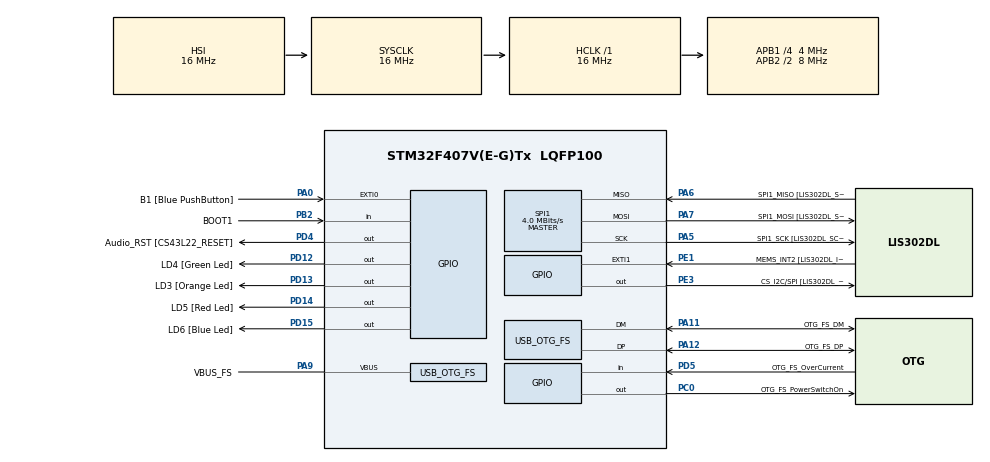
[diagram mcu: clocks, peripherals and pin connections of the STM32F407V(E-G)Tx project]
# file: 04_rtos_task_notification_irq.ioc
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Mcu.Family=STM32F4
Mcu.Name=STM32F407V(E-G)Tx
Mcu.Package=LQFP100
NVIC.OTG_FS_IRQn=true\:0\:0\:false\:false\:true\:true\:true\:true
NVIC.PriorityGroup=NVIC_PRIORITYGROUP_4
NVIC.TIM6_DAC_IRQn=true\:0\:0\:false\:false\:true\:false\:true\:true
NVIC.TimeBase=TIM6_DAC_IRQn
NVIC.TimeBaseIP=TIM6
PA0-WKUP.GPIO_Label=B1 [Blue PushButton]
PA0-WKUP.GPIO_ModeDefaultEXTI=GPIO_MODE_EVT_RISING
PA0-WKUP.GPIO_PuPd=GPIO_NOPULL
PA0-WKUP.Signal=GPXTI0
PA10.GPIO_Label=OTG_FS_ID
PA10.GPIO_Mode=GPIO_MODE_AF_PP
PA10.GPIO_PuPd=GPIO_NOPULL
PA10.GPIO_Speed=GPIO_SPEED_FREQ_LOW
PA10.Signal=USB_OTG_FS_ID
PA11.GPIO_Label=OTG_FS_DM
PA11.GPIO_Mode=GPIO_MODE_AF_PP
PA11.GPIO_PuPd=GPIO_NOPULL
PA11.GPIO_Speed=GPIO_SPEED_FREQ_LOW
PA11.Mode=Host_Only
PA11.Signal=USB_OTG_FS_DM
PA12.GPIO_Label=OTG_FS_DP
PA12.GPIO_Mode=GPIO_MODE_AF_PP
PA12.GPIO_PuPd=GPIO_NOPULL
PA12.GPIO_Speed=GPIO_SPEED_FREQ_LOW
PA12.Mode=Host_Only
PA12.Signal=USB_OTG_FS_DP
PA13.GPIO_Label=SWDIO
PA13.Mode=Serial_Wire
PA13.Signal=SYS_JTMS-SWDIO
PA14.GPIO_Label=SWCLK
PA14.Mode=Serial_Wire
PA14.Signal=SYS_JTCK-SWCLK
PA4.GPIO_Label=I2S3_WS [CS43L22_LRCK]
PA4.GPIO_Mode=GPIO_MODE_AF_PP
PA4.GPIO_PuPd=GPIO_NOPULL
PA4.GPIO_Speed=GPIO_SPEED_FREQ_LOW
PA4.Signal=I2S3_WS
PA5.GPIO_Label=SPI1_SCK [LIS302DL_SCL/SPC]
PA5.GPIO_Mode=GPIO_MODE_AF_PP
PA5.GPIO_PuPd=GPIO_NOPULL
PA5.GPIO_Speed=GPIO_SPEED_FREQ_LOW
PA5.Mode=Full_Duplex_Master
PA5.Signal=SPI1_SCK
PA6.GPIO_Label=SPI1_MISO [LIS302DL_SDO]
PA6.GPIO_Mode=GPIO_MODE_AF_PP
PA6.GPIO_PuPd=GPIO_NOPULL
PA6.GPIO_Speed=GPIO_SPEED_FREQ_LOW
PA6.Mode=Full_Duplex_Master
PA6.Signal=SPI1_MISO
PA7.GPIO_Label=SPI1_MOSI [LIS302DL_SDA/SDI/SDO]
PA7.GPIO_Mode=GPIO_MODE_AF_PP
PA7.GPIO_PuPd=GPIO_NOPULL
PA7.GPIO_Speed=GPIO_SPEED_FREQ_LOW
PA7.Mode=Full_Duplex_Master
PA7.Signal=SPI1_MOSI
PA9.GPIO_Label=VBUS_FS
PA9.GPIO_Mode=GPIO_MODE_INPUT
PA9.GPIO_PuPd=GPIO_NOPULL
PA9.Mode=Activate_VBUS
PA9.Signal=USB_OTG_FS_VBUS
PB10.GPIO_Label=CLK_IN [MP45DT02_CLK]
PB10.GPIO_Mode=GPIO_MODE_AF_PP
PB10.GPIO_PuPd=GPIO_NOPULL
PB10.GPIO_Speed=GPIO_SPEED_FREQ_LOW
PB10.Signal=I2S2_CK
PB2.GPIO_Label=BOOT1
PB2.GPIO_Mode=GPIO_MODE_INPUT
PB2.GPIO_PuPd=GPIO_NOPULL
PB2.Signal=GPIO_Input
PB3.GPIO_Label=SWO
PB3.Signal=SYS_JTDO-SWO
PB6.GPIO_Label=Audio_SCL [CS43L22_SCL]
PB6.GPIO_Mode=GPIO_MODE_AF_OD
PB6.GPIO_Pu=GPIO_PULLUP
PB6.GPIO_PuPd=GPIO_NOPULL
PB6.GPIO_Speed=GPIO_SPEED_FREQ_LOW
PB6.Signal=I2C1_SCL
PB9.GPIO_Label=Audio_SDA [CS43L22_SDA]
PB9.GPIO_Mode=GPIO_MODE_AF_OD
PB9.GPIO_Pu=GPIO_PULLUP
PB9.GPIO_PuPd=GPIO_NOPULL
PB9.GPIO_Speed=GPIO_SPEED_FREQ_LOW
PB9.Signal=I2C1_SDA
PC0.GPIO_Label=OTG_FS_PowerSwitchOn
PC0.GPIO_PuPd=GPIO_NOPULL
PC0.GPIO_Speed=GPIO_SPEED_FREQ_LOW
PC0.PinState=GPIO_PIN_SET
PC0.Signal=GPIO_Output
PC10.GPIO_Label=I2S3_SCK [CS43L22_SCLK]
PC10.GPIO_Mode=GPIO_MODE_AF_PP
PC10.GPIO_PuPd=GPIO_NOPULL
PC10.GPIO_Speed=GPIO_SPEED_FREQ_LOW
PC10.Signal=I2S3_CK
PC12.GPIO_Label=I2S3_SD [CS43L22_SDIN]
PC12.GPIO_Mode=GPIO_MODE_AF_PP
PC12.GPIO_PuPd=GPIO_NOPULL
PC12.GPIO_Speed=GPIO_SPEED_FREQ_LOW
PC12.Signal=I2S3_SD
PC14-OSC32_IN.GPIO_Label=PC14-OSC32_IN
PC14-OSC32_IN.Mode=LSE-External-Oscillator
PC14-OSC32_IN.Signal=RCC_OSC32_IN
PC15-OSC32_OUT.GPIO_Label=PC15-OSC32_OUT
PC15-OSC32_OUT.Mode=LSE-External-Oscillator
PC15-OSC32_OUT.Signal=RCC_OSC32_OUT
PC3.GPIO_Label=PDM_OUT [MP45DT02_DOUT]
PC3.GPIO_Mode=GPIO_MODE_AF_PP
PC3.GPIO_PuPd=GPIO_NOPULL
PC3.GPIO_Speed=GPIO_SPEED_FREQ_LOW
PC3.Signal=I2S2_SD
PC7.GPIO_Label=I2S3_MCK [CS43L22_MCLK]
PC7.GPIO_Mode=GPIO_MODE_AF_PP
PC7.GPIO_PuPd=GPIO_NOPULL
PC7.GPIO_Speed=GPIO_SPEED_FREQ_LOW
PC7.Signal=I2S3_MCK
PD12.GPIO_Label=LD4 [Green Led]
PD12.GPIO_PuPd=GPIO_NOPULL
PD12.GPIO_Speed=GPIO_SPEED_FREQ_LOW
PD12.Signal=GPIO_Output
PD13.GPIO_Label=LD3 [Orange Led]
PD13.GPIO_PuPd=GPIO_NOPULL
PD13.GPIO_Speed=GPIO_SPEED_FREQ_LOW
PD13.Signal=GPIO_Output
PD14.GPIO_Label=LD5 [Red Led]
PD14.GPIO_PuPd=GPIO_NOPULL
PD14.GPIO_Speed=GPIO_SPEED_FREQ_LOW
PD14.Signal=GPIO_Output
PD15.GPIO_Label=LD6 [Blue Led]
PD15.GPIO_PuPd=GPIO_NOPULL
PD15.GPIO_Speed=GPIO_SPEED_FREQ_LOW
PD15.Signal=GPIO_Output
PD4.GPIO_Label=Audio_RST [CS43L22_RESET]
PD4.GPIO_PuPd=GPIO_NOPULL
PD4.GPIO_Speed=GPIO_SPEED_FREQ_LOW
PD4.Signal=GPIO_Output
PD5.GPIO_Label=OTG_FS_OverCurrent
PD5.GPIO_Mode=GPIO_MODE_INPUT
PD5.GPIO_PuPd=GPIO_NOPULL
PD5.Signal=GPIO_Input
PE1.GPIO_Label=MEMS_INT2 [LIS302DL_INT2]
PE1.GPIO_ModeDefaultEXTI=GPIO_MODE_EVT_RISING
PE1.GPIO_PuPd=GPIO_NOPULL
PE1.Signal=GPXTI1
PE3.GPIO_Label=CS_I2C/SPI [LIS302DL_CS_I2C/SPI]
PE3.GPIO_PuPd=GPIO_NOPULL
PE3.GPIO_Speed=GPIO_SPEED_FREQ_LOW
PE3.Signal=GPIO_Output
PH0-OSC_IN.GPIO_Label=PH0-OSC_IN
PH0-OSC_IN.Mode=HSE-External-Oscillator
PH0-OSC_IN.Signal=RCC_OSC_IN
PH1-OSC_OUT.GPIO_Label=PH1-OSC_OUT
PH1-OSC_OUT.Mode=HSE-External-Oscillator
PH1-OSC_OUT.Signal=RCC_OSC_OUT
ProjectManager.HeapSize=0x200
ProjectManager.StackSize=0x400
ProjectManager.TargetToolchain=STM32CubeIDE
RCC.48MHZClocksFreq_Value=48000000
RCC.AHBFreq_Value=16000000
RCC.APB1CLKDivider=RCC_HCLK_DIV4
RCC.APB1Freq_Value=4000000
RCC.APB1TimFreq_Value=8000000
RCC.APB2CLKDivider=RCC_HCLK_DIV2
RCC.APB2Freq_Value=8000000
RCC.APB2TimFreq_Value=16000000
RCC.CortexFreq_Value=16000000
RCC.HCLKFreq_Value=16000000
RCC.HSE_VALUE=8000000
RCC.HSI_VALUE=16000000
RCC.PLLI2SN=50
RCC.PLLM=4
RCC.PLLN=168
RCC.PLLQ=7
RCC.SYSCLKFreq_VALUE=16000000
RCC.VCOOutputFreq_Value=336000000
SPI1.BaudRatePrescaler-Full_Duplex_Master=SPI_BAUDRATEPRESCALER_2
SPI1.CalculateBaudRate=4.0 MBits/s
SPI1.CalculateBaudRate-Full_Duplex_Master=42.0 MBits/s
SPI1.Direction=SPI_DIRECTION_2LINES
SPI1.Mode=SPI_MODE_MASTER
SPI1.Mode-Full_Duplex_Master=SPI_MODE_MASTER
SPI1.VirtualType=VM_MASTER
USB_HOST.BSP.number=1
USB_HOST.USBH_HandleTypeDef-CDC_FS=hUsbHostFS
USB_HOST.VirtualModeFS=Cdc
USB_HOST0.BSP.STBoard=false
USB_HOST0.BSP.api=Unknown
USB_HOST0.BSP.i2caddr=0
USB_HOST0.BSP.i2creg=0
USB_HOST0.BSP.instance=PC0
USB_HOST0.BSP.ip=GPIO
USB_HOST0.BSP.mode=Output
USB_HOST0.BSP.name=Drive_VBUS_FS
USB_HOST0.BSP.solution=PC0
USB_OTG_FS.VirtualMode=Host_Only
USB_OTG_FS.phy_itface=HCD_PHY_EMBEDDED
VP_SYS_VS_tim6.Mode=TIM6
VP_USB_HOST_VS_USB_HOST_CDC_FS.Mode=CDC_FS
board=STM32F407G-DISC1

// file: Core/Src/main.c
/* USER CODE BEGIN Header */
/**
 ******************************************************************************
 * @file           : main.c
 * @brief          : Main program body
 ******************************************************************************
 * @attention
 *
 * <h2><center>&copy; Copyright (c) 2021 STMicroelectronics.
 * All rights reserved.</center></h2>
 *
 * This software component is licensed by ST under Ultimate Liberty license
 * SLA0044, the "License"; You may not use this file except in compliance with
 * the License. You may obtain a copy of the License at:
 *                             www.st.com/SLA0044
 *
 ******************************************************************************
 */
/* USER CODE END Header */
#include "main.h"
#include "usb_host.h"

/* USER CODE BEGIN Includes */
#include "FreeRTOS.h"
#include "task.h"
#include "stdio.h"
/* USER CODE END Includes */

SPI_HandleTypeDef hspi1;

/* USER CODE BEGIN PV */
const uint8_t max_msg_len = 100;
#define DWT_CTRL	(*(volatile uint32_t*) 0xE0001000)

TaskHandle_t task1_handle;
TaskHandle_t task2_handle;
/* USER CODE END PV */

void SystemClock_Config(void);
static void MX_GPIO_Init(void);
static void MX_SPI1_Init(void);
void MX_USB_HOST_Process(void);

/* USER CODE BEGIN PFP */
static void task1_Handler(void* parameters);

static void task2_Handler(void* parameters);

static void ITM_print(const char* msg, const uint8_t len);

extern void SEGGER_UART_init(unsigned long baud);
/* USER CODE END PFP */

int main(void)
{
	/* USER CODE BEGIN 1 */

	BaseType_t status;
	/* USER CODE END 1 */

	/* MCU Configuration--------------------------------------------------------*/

	/* Reset of all peripherals, Initializes the Flash interface and the Systick. */
	HAL_Init();

	/* Configure the system clock */
	SystemClock_Config();

	/* Initialize all configured peripherals */
	MX_GPIO_Init();
	MX_SPI1_Init();
	MX_USB_HOST_Init();
	/* USER CODE BEGIN 2 */
	DWT_CTRL |= (1 << 0);

	SEGGER_SYSVIEW_Conf();
	SEGGER_SYSVIEW_Start();

	status = xTaskCreate(task1_Handler,"Task-LED",200, "LED toggle", 2, &task1_handle);
	configASSERT(status==pdPASS);
	status = xTaskCreate(task2_Handler,"Task-Btn",200, "Button polling", 3, &task2_handle);
	configASSERT(status==pdPASS);

	vTaskStartScheduler();
	/* USER CODE END 2 */

	/* Infinite loop */
	while (1)
	{
		//MX_USB_HOST_Process();

	}
}

void SystemClock_Config(void)
{
	RCC_OscInitTypeDef RCC_OscInitStruct = {0};
	RCC_ClkInitTypeDef RCC_ClkInitStruct = {0};

	/** Configure the main internal regulator output voltage
	 */
	__HAL_RCC_PWR_CLK_ENABLE();
	__HAL_PWR_VOLTAGESCALING_CONFIG(PWR_REGULATOR_VOLTAGE_SCALE1);
	/** Initializes the RCC Oscillators according to the specified parameters
	 * in the RCC_OscInitTypeDef structure.
	 */
	RCC_OscInitStruct.OscillatorType = RCC_OSCILLATORTYPE_HSI|RCC_OSCILLATORTYPE_HSE;
	RCC_OscInitStruct.HSEState = RCC_HSE_ON;
	RCC_OscInitStruct.HSIState = RCC_HSI_ON;
	RCC_OscInitStruct.HSICalibrationValue = RCC_HSICALIBRATION_DEFAULT;
	RCC_OscInitStruct.PLL.PLLState = RCC_PLL_ON;
	RCC_OscInitStruct.PLL.PLLSource = RCC_PLLSOURCE_HSE;
	RCC_OscInitStruct.PLL.PLLM = 4;
	RCC_OscInitStruct.PLL.PLLN = 168;
	RCC_OscInitStruct.PLL.PLLP = RCC_PLLP_DIV2;
	RCC_OscInitStruct.PLL.PLLQ = 7;
	if (HAL_RCC_OscConfig(&RCC_OscInitStruct) != HAL_OK)
	{
		Error_Handler();
	}
	/** Initializes the CPU, AHB and APB buses clocks
	 */
	RCC_ClkInitStruct.ClockType = RCC_CLOCKTYPE_HCLK|RCC_CLOCKTYPE_SYSCLK
			|RCC_CLOCKTYPE_PCLK1|RCC_CLOCKTYPE_PCLK2;
	RCC_ClkInitStruct.SYSCLKSource = RCC_SYSCLKSOURCE_HSI;
	RCC_ClkInitStruct.AHBCLKDivider = RCC_SYSCLK_DIV1;
	RCC_ClkInitStruct.APB1CLKDivider = RCC_HCLK_DIV4;
	RCC_ClkInitStruct.APB2CLKDivider = RCC_HCLK_DIV2;

	if (HAL_RCC_ClockConfig(&RCC_ClkInitStruct, FLASH_LATENCY_0) != HAL_OK)
	{
		Error_Handler();
	}
}

static void MX_SPI1_Init(void)
{

	/* SPI1 parameter configuration*/
	hspi1.Instance = SPI1;
	hspi1.Init.Mode = SPI_MODE_MASTER;
	hspi1.Init.Direction = SPI_DIRECTION_2LINES;
	hspi1.Init.DataSize = SPI_DATASIZE_8BIT;
	hspi1.Init.CLKPolarity = SPI_POLARITY_LOW;
	hspi1.Init.CLKPhase = SPI_PHASE_1EDGE;
	hspi1.Init.NSS = SPI_NSS_SOFT;
	hspi1.Init.BaudRatePrescaler = SPI_BAUDRATEPRESCALER_2;
	hspi1.Init.FirstBit = SPI_FIRSTBIT_MSB;
	hspi1.Init.TIMode = SPI_TIMODE_DISABLE;
	hspi1.Init.CRCCalculation = SPI_CRCCALCULATION_DISABLE;
	hspi1.Init.CRCPolynomial = 10;
	if (HAL_SPI_Init(&hspi1) != HAL_OK)
	{
		Error_Handler();
	}

}

static void MX_GPIO_Init(void)
{
	GPIO_InitTypeDef GPIO_InitStruct = {0};

	/* GPIO Ports Clock Enable */
	__HAL_RCC_GPIOE_CLK_ENABLE();
	__HAL_RCC_GPIOC_CLK_ENABLE();
	__HAL_RCC_GPIOH_CLK_ENABLE();
	__HAL_RCC_GPIOA_CLK_ENABLE();
	__HAL_RCC_GPIOB_CLK_ENABLE();
	__HAL_RCC_GPIOD_CLK_ENABLE();

	/*Configure GPIO pin Output Level */
	HAL_GPIO_WritePin(CS_I2C_SPI_GPIO_Port, CS_I2C_SPI_Pin, GPIO_PIN_RESET);

	/*Configure GPIO pin Output Level */
	HAL_GPIO_WritePin(OTG_FS_PowerSwitchOn_GPIO_Port, OTG_FS_PowerSwitchOn_Pin, GPIO_PIN_SET);

	/*Configure GPIO pin Output Level */
	HAL_GPIO_WritePin(GPIOD, LD4_Pin|LD3_Pin|LD5_Pin|LD6_Pin
			|Audio_RST_Pin, GPIO_PIN_RESET);

	/*Configure GPIO pin : CS_I2C_SPI_Pin */
	GPIO_InitStruct.Pin = CS_I2C_SPI_Pin;
	GPIO_InitStruct.Mode = GPIO_MODE_OUTPUT_PP;
	GPIO_InitStruct.Pull = GPIO_NOPULL;
	GPIO_InitStruct.Speed = GPIO_SPEED_FREQ_LOW;
	HAL_GPIO_Init(CS_I2C_SPI_GPIO_Port, &GPIO_InitStruct);

	/*Configure GPIO pin : OTG_FS_PowerSwitchOn_Pin */
	GPIO_InitStruct.Pin = OTG_FS_PowerSwitchOn_Pin;
	GPIO_InitStruct.Mode = GPIO_MODE_OUTPUT_PP;
	GPIO_InitStruct.Pull = GPIO_NOPULL;
	GPIO_InitStruct.Speed = GPIO_SPEED_FREQ_LOW;
	HAL_GPIO_Init(OTG_FS_PowerSwitchOn_GPIO_Port, &GPIO_InitStruct);

	/*Configure GPIO pin : PDM_OUT_Pin */
	GPIO_InitStruct.Pin = PDM_OUT_Pin;
	GPIO_InitStruct.Mode = GPIO_MODE_AF_PP;
	GPIO_InitStruct.Pull = GPIO_NOPULL;
	GPIO_InitStruct.Speed = GPIO_SPEED_FREQ_LOW;
	GPIO_InitStruct.Alternate = GPIO_AF5_SPI2;
	HAL_GPIO_Init(PDM_OUT_GPIO_Port, &GPIO_InitStruct);

	/*Configure GPIO pin : B1_Pin */
	GPIO_InitStruct.Pin = B1_Pin;
	GPIO_InitStruct.Mode = GPIO_MODE_EVT_RISING;
	GPIO_InitStruct.Pull = GPIO_NOPULL;
	HAL_GPIO_Init(B1_GPIO_Port, &GPIO_InitStruct);

	/*Configure GPIO pin : I2S3_WS_Pin */
	GPIO_InitStruct.Pin = I2S3_WS_Pin;
	GPIO_InitStruct.Mode = GPIO_MODE_AF_PP;
	GPIO_InitStruct.Pull = GPIO_NOPULL;
	GPIO_InitStruct.Speed = GPIO_SPEED_FREQ_LOW;
	GPIO_InitStruct.Alternate = GPIO_AF6_SPI3;
	HAL_GPIO_Init(I2S3_WS_GPIO_Port, &GPIO_InitStruct);

	/*Configure GPIO pin : BOOT1_Pin */
	GPIO_InitStruct.Pin = BOOT1_Pin;
	GPIO_InitStruct.Mode = GPIO_MODE_INPUT;
	GPIO_InitStruct.Pull = GPIO_NOPULL;
	HAL_GPIO_Init(BOOT1_GPIO_Port, &GPIO_InitStruct);

	/*Configure GPIO pin : CLK_IN_Pin */
	GPIO_InitStruct.Pin = CLK_IN_Pin;
	GPIO_InitStruct.Mode = GPIO_MODE_AF_PP;
	GPIO_InitStruct.Pull = GPIO_NOPULL;
	GPIO_InitStruct.Speed = GPIO_SPEED_FREQ_LOW;
	GPIO_InitStruct.Alternate = GPIO_AF5_SPI2;
	HAL_GPIO_Init(CLK_IN_GPIO_Port, &GPIO_InitStruct);

	/*Configure GPIO pins : LD4_Pin LD3_Pin LD5_Pin LD6_Pin
                           Audio_RST_Pin */
	GPIO_InitStruct.Pin = LD4_Pin|LD3_Pin|LD5_Pin|LD6_Pin
			|Audio_RST_Pin;
	GPIO_InitStruct.Mode = GPIO_MODE_OUTPUT_PP;
	GPIO_InitStruct.Pull = GPIO_NOPULL;
	GPIO_InitStruct.Speed = GPIO_SPEED_FREQ_LOW;
	HAL_GPIO_Init(GPIOD, &GPIO_InitStruct);

	/*Configure GPIO pins : I2S3_MCK_Pin I2S3_SCK_Pin I2S3_SD_Pin */
	GPIO_InitStruct.Pin = I2S3_MCK_Pin|I2S3_SCK_Pin|I2S3_SD_Pin;
	GPIO_InitStruct.Mode = GPIO_MODE_AF_PP;
	GPIO_InitStruct.Pull = GPIO_NOPULL;
	GPIO_InitStruct.Speed = GPIO_SPEED_FREQ_LOW;
	GPIO_InitStruct.Alternate = GPIO_AF6_SPI3;
	HAL_GPIO_Init(GPIOC, &GPIO_InitStruct);

	/*Configure GPIO pin : OTG_FS_OverCurrent_Pin */
	GPIO_InitStruct.Pin = OTG_FS_OverCurrent_Pin;
	GPIO_InitStruct.Mode = GPIO_MODE_INPUT;
	GPIO_InitStruct.Pull = GPIO_NOPULL;
	HAL_GPIO_Init(OTG_FS_OverCurrent_GPIO_Port, &GPIO_InitStruct);

	/*Configure GPIO pins : Audio_SCL_Pin Audio_SDA_Pin */
	GPIO_InitStruct.Pin = Audio_SCL_Pin|Audio_SDA_Pin;
	GPIO_InitStruct.Mode = GPIO_MODE_AF_OD;
	GPIO_InitStruct.Pull = GPIO_PULLUP;
	GPIO_InitStruct.Speed = GPIO_SPEED_FREQ_LOW;
	GPIO_InitStruct.Alternate = GPIO_AF4_I2C1;
	HAL_GPIO_Init(GPIOB, &GPIO_InitStruct);

	/*Configure GPIO pin : MEMS_INT2_Pin */
	GPIO_InitStruct.Pin = MEMS_INT2_Pin;
	GPIO_InitStruct.Mode = GPIO_MODE_EVT_RISING;
	GPIO_InitStruct.Pull = GPIO_NOPULL;
	HAL_GPIO_Init(MEMS_INT2_GPIO_Port, &GPIO_InitStruct);

}

/* USER CODE BEGIN 4 */
static void task1_Handler(void* parameters){
	char msg[50];
	BaseType_t status= pdFALSE;
	while (1){
		HAL_GPIO_TogglePin(LD5_GPIO_Port, LD5_Pin);
		status = xTaskNotifyWait(0,0,NULL,pdMS_TO_TICKS(200));
		if (status == pdTRUE){
			HAL_GPIO_WritePin(LD5_GPIO_Port, LD5_Pin, DISABLE);
			snprintf(msg, 50,"%s \n", "LED task delete!");
			SEGGER_SYSVIEW_PrintfTarget(msg);
			vTaskDelete(NULL);
		}
	}
}

static void task2_Handler(void* parameters){
	char msg[50];
	uint8_t btn_PA0 = 0;
	uint8_t btn_previous = 0;
	uint8_t count = 0;
	while (1){
		btn_PA0 = HAL_GPIO_ReadPin(GPIOA, GPIO_PIN_0);
		if (btn_PA0 != btn_previous || count == 12){
			xTaskNotify(task1_handle, 0, eNoAction);
			//taskYIELD();
			snprintf(msg,50,"%s \n", "Button state changed!");
			SEGGER_SYSVIEW_PrintfTarget(msg);
			btn_previous = btn_PA0;
		}
		vTaskDelay(pdMS_TO_TICKS(10));
		count++;
	}
}

static void ITM_print(const char* msg, const uint8_t len){
	for(int i = 0; i < len ; i++){
		ITM_SendChar(msg[i]);
		if (msg[i] == '\0'){
			break;
		}
	}
}

/* USER CODE END 4 */

void HAL_TIM_PeriodElapsedCallback(TIM_HandleTypeDef *htim)
{
	if (htim->Instance == TIM6) {
		HAL_IncTick();
	}
}

void Error_Handler(void)
{
	__disable_irq();
	while (1)
	{
	}
}

/************************ (C) COPYRIGHT STMicroelectronics *****END OF FILE****/
